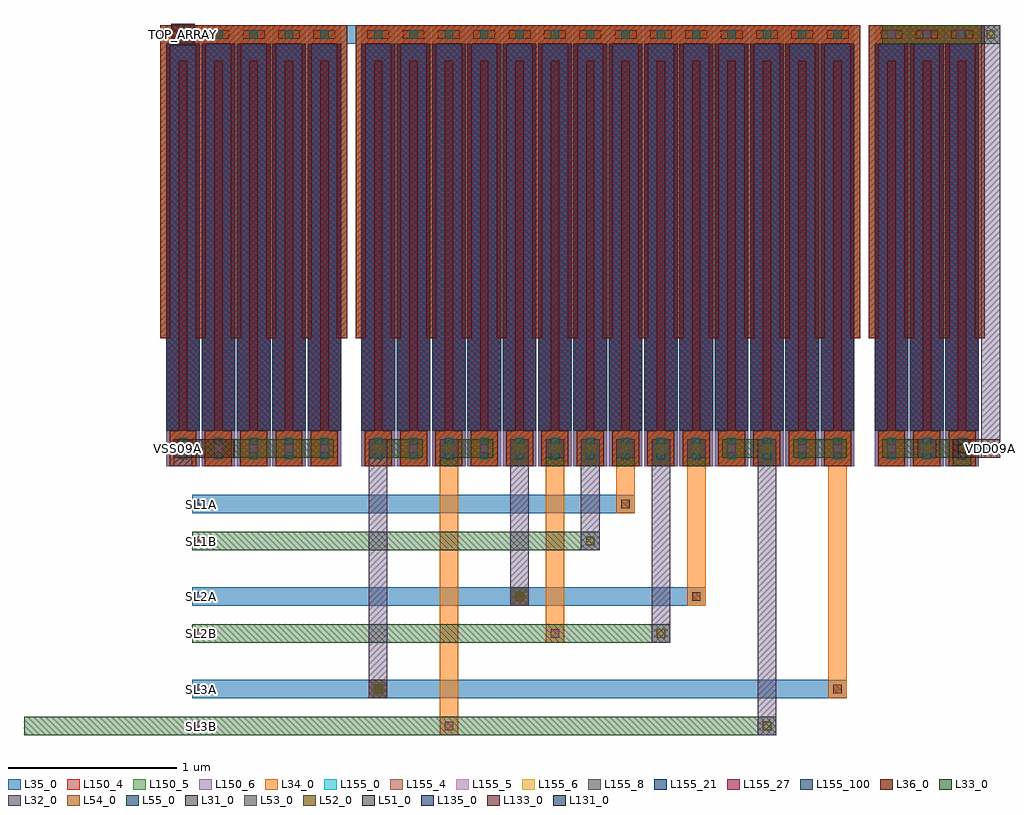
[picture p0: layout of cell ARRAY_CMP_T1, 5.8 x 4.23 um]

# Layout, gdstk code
from math import pi, radians
import gdstk
lib = gdstk.Library(unit=1e-6, precision=1e-09)
def R(c, l, rs):  # rectangles x0, y0, x1, y1
    for r in rs: c.add(gdstk.rectangle(r[:2], r[2:], *l))
def A(c, l, x, y, w, h, nx, ny, dx, dy):  # array of equal rectangles
    R(c, l, [(x+i*dx, y+j*dy, x+i*dx+w, y+j*dy+h) for i in range(nx) for j in range(ny)])
L31_0 = (31, 0)
L32_0 = (32, 0)
L33_0 = (33, 0)
L34_0 = (34, 0)
L35_0 = (35, 0)
L36_0 = (36, 0)
L51_0 = (51, 0)
L52_0 = (52, 0)
L53_0 = (53, 0)
L54_0 = (54, 0)
L55_0 = (55, 0)
L131_0 = (131, 0)
L133_0 = (133, 0)
L135_0 = (135, 0)
L150_4 = (150, 4)
L150_5 = (150, 5)
L150_6 = (150, 6)
L155_0 = (155, 0)
L155_4 = (155, 4)
L155_5 = (155, 5)
L155_6 = (155, 6)
L155_8 = (155, 8)
L155_21 = (155, 21)
L155_27 = (155, 27)
L155_100 = (155, 100)

m5_m4_cdns_621516061597 = lib.new_cell('M5_M4_CDNS_621516061597')
R(m5_m4_cdns_621516061597, L34_0, [(-0.07,-0.105,0.07,0.105)])
R(m5_m4_cdns_621516061597, L35_0, [(-0.07,-0.105,0.07,0.105)])
R(m5_m4_cdns_621516061597, L54_0, [(-0.025,-0.065,0.025,0.065)])

m6_m5_cdns_621516061598 = lib.new_cell('M6_M5_CDNS_621516061598')
R(m6_m5_cdns_621516061598, L35_0, [(-0.07,-0.105,0.07,0.105)])
R(m6_m5_cdns_621516061598, L36_0, [(-0.055,-0.105,0.055,0.105)])
R(m6_m5_cdns_621516061598, L55_0, [(-0.025,-0.065,0.025,0.065)])

m5_m4_cdns_621516061599 = lib.new_cell('M5_M4_CDNS_621516061599')
R(m5_m4_cdns_621516061599, L34_0, [(-0.095,-0.055,0.095,0.055)])
R(m5_m4_cdns_621516061599, L35_0, [(-0.12,-0.055,0.12,0.055)])
R(m5_m4_cdns_621516061599, L54_0, [(-0.065,-0.025,0.065,0.025)])

m6_m5_cdns_6215160615910 = lib.new_cell('M6_M5_CDNS_6215160615910')
R(m6_m5_cdns_6215160615910, L35_0, [(-0.055,-0.055,0.055,0.055)])
R(m6_m5_cdns_6215160615910, L36_0, [(-0.055,-0.055,0.055,0.055)])
R(m6_m5_cdns_6215160615910, L55_0, [(-0.025,-0.025,0.025,0.025)])

cu1f = lib.new_cell('CU1F')
R(cu1f, L34_0, [(0.02,0,0.18,0.21), (-0.035,2.51,0.235,2.62)])
R(cu1f, L35_0, [(0.02,0,0.18,0.21), (-0.035,2.51,0.235,2.62)])
R(cu1f, L36_0, [(0.02,0,0.18,0.21), (-0.035,2.51,0.235,2.62)])
R(cu1f, L150_4, [(0,0,0.2,2.62)])
R(cu1f, L150_5, [(0,0,0.2,2.62)])
R(cu1f, L150_6, [(0,0,0.2,2.62)])
R(cu1f, L155_0, [(0,0.21,0.2,2.51)])
R(cu1f, L155_4, [(0,0.21,0.2,2.51)])
R(cu1f, L155_5, [(0,0.21,0.2,2.51)])
R(cu1f, L155_6, [(0,0.21,0.2,2.51)])
R(cu1f, L155_8, [(0,0.21,0.2,2.51)])
R(cu1f, L155_21, [(0,0.21,0.2,2.51)])
R(cu1f, L155_27, [(0,0.21,0.2,2.51)])
R(cu1f, L155_100, [(0,0.21,0.2,2.51)])
cu1f.add(gdstk.FlexPath([(0.205,2.59),(0.205,0.76)], 0.06, ends=(0.03, 0), simple_path=True, layer=34, datatype=0))  # L34_0
cu1f.add(gdstk.FlexPath([(0.1,2.41),(0.1,0)], 0.05, ends="flush", simple_path=True, layer=34, datatype=0))  # L34_0
cu1f.add(gdstk.FlexPath([(-0.005,2.59),(-0.005,0.76)], 0.06, ends=(0.03, 0), simple_path=True, layer=34, datatype=0))  # L34_0
cu1f.add(gdstk.FlexPath([(0.205,0.76),(0.205,2.59)], 0.06, ends=(0, 0.03), simple_path=True, layer=35, datatype=0))  # L35_0
cu1f.add(gdstk.FlexPath([(0.1,2.41),(0.1,0)], 0.05, ends="flush", simple_path=True, layer=35, datatype=0))  # L35_0
cu1f.add(gdstk.FlexPath([(-0.005,0.76),(-0.005,2.59)], 0.06, ends=(0, 0.03), simple_path=True, layer=35, datatype=0))  # L35_0
cu1f.add(gdstk.FlexPath([(0.205,0.76),(0.205,2.59)], 0.06, ends=(0, 0.03), simple_path=True, layer=36, datatype=0))  # L36_0
cu1f.add(gdstk.FlexPath([(0.1,2.41),(0.1,0)], 0.05, ends="flush", simple_path=True, layer=36, datatype=0))  # L36_0
cu1f.add(gdstk.FlexPath([(-0.005,0.76),(-0.005,2.59)], 0.06, ends=(0, 0.03), simple_path=True, layer=36, datatype=0))  # L36_0
cu1f.add(gdstk.Reference(m5_m4_cdns_621516061597, (0.1,0.105), rotation=pi, x_reflection=True))
cu1f.add(gdstk.Reference(m6_m5_cdns_621516061598, (0.1,0.105), rotation=pi, x_reflection=True))
cu1f.add(gdstk.Reference(m5_m4_cdns_621516061599, (0.1,2.565)))
cu1f.add(gdstk.Reference(m6_m5_cdns_6215160615910, (0.1,2.565)))

m2_m1_cdns_621516061590 = lib.new_cell('M2_M1_CDNS_621516061590')
R(m2_m1_cdns_621516061590, L31_0, [(-0.055,-0.055,0.055,0.055)])
R(m2_m1_cdns_621516061590, L32_0, [(-0.055,-0.055,0.055,0.055)])
R(m2_m1_cdns_621516061590, L51_0, [(-0.025,-0.025,0.025,0.025)])

m3_m2_cdns_621516061591 = lib.new_cell('M3_M2_CDNS_621516061591')
R(m3_m2_cdns_621516061591, L32_0, [(-0.055,-0.055,0.055,0.055)])
R(m3_m2_cdns_621516061591, L33_0, [(-0.055,-0.055,0.055,0.055)])
R(m3_m2_cdns_621516061591, L52_0, [(-0.025,-0.025,0.025,0.025)])

m4_m3_cdns_621516061592 = lib.new_cell('M4_M3_CDNS_621516061592')
R(m4_m3_cdns_621516061592, L33_0, [(-0.055,-0.055,0.055,0.055)])
R(m4_m3_cdns_621516061592, L34_0, [(-0.055,-0.055,0.055,0.055)])
R(m4_m3_cdns_621516061592, L53_0, [(-0.025,-0.025,0.025,0.025)])

m4_m3_cdns_621516061593 = lib.new_cell('M4_M3_CDNS_621516061593')
R(m4_m3_cdns_621516061593, L33_0, [(-0.07,-0.065,0.07,0.065)])
R(m4_m3_cdns_621516061593, L34_0, [(-0.055,-0.055,0.055,0.055)])
R(m4_m3_cdns_621516061593, L53_0, [(-0.025,-0.025,0.025,0.025)])

m3_m2_cdns_621516061594 = lib.new_cell('M3_M2_CDNS_621516061594')
R(m3_m2_cdns_621516061594, L32_0, [(-0.065,-0.06,0.065,0.06)])
R(m3_m2_cdns_621516061594, L33_0, [(-0.07,-0.065,0.07,0.065)])
R(m3_m2_cdns_621516061594, L52_0, [(-0.025,-0.025,0.025,0.025)])

m2_m1_cdns_621516061595 = lib.new_cell('M2_M1_CDNS_621516061595')
R(m2_m1_cdns_621516061595, L31_0, [(-0.055,-0.055,0.055,0.055)])
R(m2_m1_cdns_621516061595, L32_0, [(-0.065,-0.06,0.065,0.06)])
R(m2_m1_cdns_621516061595, L51_0, [(-0.025,-0.025,0.025,0.025)])

m5_m4_cdns_621516061596 = lib.new_cell('M5_M4_CDNS_621516061596')
R(m5_m4_cdns_621516061596, L34_0, [(-0.055,-0.055,0.055,0.055)])
R(m5_m4_cdns_621516061596, L35_0, [(-0.055,-0.055,0.055,0.055)])
R(m5_m4_cdns_621516061596, L54_0, [(-0.025,-0.025,0.025,0.025)])

array_cmp_t1 = lib.new_cell('ARRAY_CMP_T1')
R(array_cmp_t1, L31_0, [(-0.165,0.05,0.195,0.16), (4.465,0.05,4.745,0.16), (-0.18,2.5,-0.04,2.63)])
R(array_cmp_t1, L32_0, [(3.305,-1.6,3.415,0.16), (0.995,-1.38,1.105,0.16), (2.675,-1.05,2.785,0.16), (1.835,-0.83,1.945,0.16), (2.255,-0.5,2.365,0.16), (-0.165,0,-0.055,0.16), (4.465,0.05,4.575,0.16), (4.635,0.05,4.745,2.62)])
A(array_cmp_t1, L33_0, 1.835, 0, 0.11, 0.16, 6, 1, 0.21, 0)
R(array_cmp_t1, L33_0, [(-1.055,-1.6,3.415,-1.49), (-0.055,-1.05,2.785,-0.94), (-0.055,-0.5,2.365,-0.39), (1.415,0,1.525,0.16), (3.305,0,3.415,0.16), (4.465,0,4.575,0.16), (-0.165,0.05,0.785,0.16), (0.995,0.05,1.315,0.16), (1.415,0.05,1.735,0.16), (3.095,0.05,3.415,0.16), (3.515,0.05,3.835,0.16), (4.045,0.05,4.575,0.16), (4.045,2.51,4.745,2.62)])
R(array_cmp_t1, L34_0, [(1.415,-1.6,1.525,0.16), (3.725,-1.38,3.835,0.16), (2.045,-1.05,2.155,0.16), (2.885,-0.83,2.995,0.16), (2.465,-0.28,2.575,0.16)])
R(array_cmp_t1, L35_0, [(-0.055,-1.38,3.835,-1.27), (-0.055,-0.83,2.995,-0.72), (-0.055,-0.28,2.575,-0.17), (-0.18,2.51,1.125,2.62)])
R(array_cmp_t1, L131_0, [(-0.165,0.08,-0.115,0.13), (4.665,0.08,4.715,0.13), (-0.135,2.54,-0.085,2.59)])
A(array_cmp_t1, L133_0, -0.025, -1.57, 0.05, 0.05, 1, 3, 0, 0.55)
A(array_cmp_t1, L135_0, -0.025, -1.35, 0.05, 0.05, 1, 3, 0, 0.55)
array_cmp_t1.add(gdstk.Reference(cu1f, (4,0)))
array_cmp_t1.add(gdstk.Reference(cu1f, (4.21,0)))
array_cmp_t1.add(gdstk.Reference(cu1f, (0.42,0)))
array_cmp_t1.add(gdstk.Reference(cu1f, (0.63,0)))
array_cmp_t1.add(gdstk.Reference(cu1f, (4.42,0)))
array_cmp_t1.add(gdstk.Reference(cu1f, (0.21,0)))
array_cmp_t1.add(gdstk.Reference(cu1f, (0,0)))
array_cmp_t1.add(gdstk.Reference(cu1f, (-0.21,0)))
array_cmp_t1.add(gdstk.Reference(cu1f, (3.68,0)))
array_cmp_t1.add(gdstk.Reference(cu1f, (3.47,0)))
array_cmp_t1.add(gdstk.Reference(cu1f, (3.26,0)))
array_cmp_t1.add(gdstk.Reference(cu1f, (3.05,0)))
array_cmp_t1.add(gdstk.Reference(cu1f, (2.84,0)))
array_cmp_t1.add(gdstk.Reference(cu1f, (2.63,0)))
array_cmp_t1.add(gdstk.Reference(cu1f, (2.42,0)))
array_cmp_t1.add(gdstk.Reference(cu1f, (2.21,0)))
array_cmp_t1.add(gdstk.Reference(cu1f, (2,0)))
array_cmp_t1.add(gdstk.Reference(cu1f, (1.79,0)))
array_cmp_t1.add(gdstk.Reference(cu1f, (1.58,0)))
array_cmp_t1.add(gdstk.Reference(cu1f, (1.37,0)))
array_cmp_t1.add(gdstk.Reference(cu1f, (1.16,0)))
array_cmp_t1.add(gdstk.Reference(cu1f, (0.95,0)))
array_cmp_t1.add(gdstk.Reference(m2_m1_cdns_621516061590, (4.69,0.105)))
array_cmp_t1.add(gdstk.Reference(m2_m1_cdns_621516061590, (-0.11,0.105)))
array_cmp_t1.add(gdstk.Reference(m2_m1_cdns_621516061590, (4.52,0.105)))
array_cmp_t1.add(gdstk.Reference(m3_m2_cdns_621516061591, (1.89,-0.775)))
array_cmp_t1.add(gdstk.Reference(m3_m2_cdns_621516061591, (1.05,-1.325)))
array_cmp_t1.add(gdstk.Reference(m3_m2_cdns_621516061591, (4.69,2.565)))
array_cmp_t1.add(gdstk.Reference(m3_m2_cdns_621516061591, (1.05,0.105)))
array_cmp_t1.add(gdstk.Reference(m3_m2_cdns_621516061591, (1.47,0.105)))
array_cmp_t1.add(gdstk.Reference(m3_m2_cdns_621516061591, (1.89,0.105)))
array_cmp_t1.add(gdstk.Reference(m3_m2_cdns_621516061591, (2.1,0.105)))
array_cmp_t1.add(gdstk.Reference(m3_m2_cdns_621516061591, (2.31,0.105)))
array_cmp_t1.add(gdstk.Reference(m3_m2_cdns_621516061591, (2.52,0.105)))
array_cmp_t1.add(gdstk.Reference(m3_m2_cdns_621516061591, (2.73,0.105)))
array_cmp_t1.add(gdstk.Reference(m3_m2_cdns_621516061591, (2.94,0.105)))
array_cmp_t1.add(gdstk.Reference(m3_m2_cdns_621516061591, (3.36,0.105)))
array_cmp_t1.add(gdstk.Reference(m3_m2_cdns_621516061591, (4.52,0.105)))
array_cmp_t1.add(gdstk.Reference(m3_m2_cdns_621516061591, (-0.11,0.105)))
array_cmp_t1.add(gdstk.Reference(m3_m2_cdns_621516061591, (4.31,0.105)))
array_cmp_t1.add(gdstk.Reference(m3_m2_cdns_621516061591, (2.73,-0.995)))
array_cmp_t1.add(gdstk.Reference(m3_m2_cdns_621516061591, (3.36,-1.545)))
array_cmp_t1.add(gdstk.Reference(m3_m2_cdns_621516061591, (2.31,-0.445)))
array_cmp_t1.add(gdstk.Reference(m4_m3_cdns_621516061592, (1.68,0.105)))
array_cmp_t1.add(gdstk.Reference(m4_m3_cdns_621516061592, (1.05,-1.325)))
array_cmp_t1.add(gdstk.Reference(m4_m3_cdns_621516061592, (4.51,2.565), rotation=pi, x_reflection=True))
array_cmp_t1.add(gdstk.Reference(m4_m3_cdns_621516061592, (4.1,2.565), rotation=pi, x_reflection=True))
array_cmp_t1.add(gdstk.Reference(m4_m3_cdns_621516061592, (1.05,0.105)))
array_cmp_t1.add(gdstk.Reference(m4_m3_cdns_621516061592, (1.26,0.105)))
array_cmp_t1.add(gdstk.Reference(m4_m3_cdns_621516061592, (1.47,0.105)))
array_cmp_t1.add(gdstk.Reference(m4_m3_cdns_621516061592, (1.89,0.105)))
array_cmp_t1.add(gdstk.Reference(m4_m3_cdns_621516061592, (2.1,0.105)))
array_cmp_t1.add(gdstk.Reference(m4_m3_cdns_621516061592, (2.31,0.105)))
array_cmp_t1.add(gdstk.Reference(m4_m3_cdns_621516061592, (2.52,0.105)))
array_cmp_t1.add(gdstk.Reference(m4_m3_cdns_621516061592, (2.73,0.105)))
array_cmp_t1.add(gdstk.Reference(m4_m3_cdns_621516061592, (2.94,0.105)))
array_cmp_t1.add(gdstk.Reference(m4_m3_cdns_621516061592, (3.15,0.105)))
array_cmp_t1.add(gdstk.Reference(m4_m3_cdns_621516061592, (3.36,0.105)))
array_cmp_t1.add(gdstk.Reference(m4_m3_cdns_621516061592, (3.57,0.105)))
array_cmp_t1.add(gdstk.Reference(m4_m3_cdns_621516061592, (3.78,0.105)))
array_cmp_t1.add(gdstk.Reference(m4_m3_cdns_621516061592, (4.52,0.105)))
array_cmp_t1.add(gdstk.Reference(m4_m3_cdns_621516061592, (1.47,-1.545)))
array_cmp_t1.add(gdstk.Reference(m4_m3_cdns_621516061592, (0.1,0.105)))
array_cmp_t1.add(gdstk.Reference(m4_m3_cdns_621516061592, (0.31,0.105)))
array_cmp_t1.add(gdstk.Reference(m4_m3_cdns_621516061592, (-0.11,0.105)))
array_cmp_t1.add(gdstk.Reference(m4_m3_cdns_621516061592, (0.73,0.105)))
array_cmp_t1.add(gdstk.Reference(m4_m3_cdns_621516061592, (0.52,0.105)))
array_cmp_t1.add(gdstk.Reference(m4_m3_cdns_621516061592, (4.1,0.105)))
array_cmp_t1.add(gdstk.Reference(m4_m3_cdns_621516061592, (4.31,0.105)))
array_cmp_t1.add(gdstk.Reference(m4_m3_cdns_621516061592, (4.31,2.565), rotation=pi, x_reflection=True))
array_cmp_t1.add(gdstk.Reference(m4_m3_cdns_621516061592, (1.89,-0.775)))
array_cmp_t1.add(gdstk.Reference(m4_m3_cdns_621516061592, (2.1,-0.995)))
array_cmp_t1.add(gdstk.Reference(m4_m3_cdns_621516061593, (-0.11,2.565)))
array_cmp_t1.add(gdstk.Reference(m3_m2_cdns_621516061594, (-0.11,2.565)))
array_cmp_t1.add(gdstk.Reference(m2_m1_cdns_621516061595, (-0.11,2.565)))
array_cmp_t1.add(gdstk.Reference(m5_m4_cdns_621516061596, (1.89,-0.775)))
array_cmp_t1.add(gdstk.Reference(m5_m4_cdns_621516061596, (2.94,-0.775)))
array_cmp_t1.add(gdstk.Reference(m5_m4_cdns_621516061596, (2.52,-0.225)))
array_cmp_t1.add(gdstk.Reference(m5_m4_cdns_621516061596, (3.78,-1.325)))
array_cmp_t1.add(gdstk.Reference(m5_m4_cdns_621516061596, (1.05,-1.325)))
array_cmp_t1.add(gdstk.Label('SL3A', (0,-1.325), layer=135, texttype=0))
array_cmp_t1.add(gdstk.Label('SL2A', (0,-0.775), layer=135, texttype=0))
array_cmp_t1.add(gdstk.Label('SL1A', (0,-0.225), layer=135, texttype=0))
array_cmp_t1.add(gdstk.Label('SL1B', (0,-0.445), layer=133, texttype=0))
array_cmp_t1.add(gdstk.Label('SL2B', (0,-0.995), layer=133, texttype=0))
array_cmp_t1.add(gdstk.Label('SL3B', (0,-1.545), layer=133, texttype=0))
array_cmp_t1.add(gdstk.Label('VDD09A', (4.69,0.105), layer=131, texttype=0))
array_cmp_t1.add(gdstk.Label('VSS09A', (-0.14,0.105), layer=131, texttype=0))
array_cmp_t1.add(gdstk.Label('TOP_ARRAY', (-0.112,2.565), layer=131, texttype=0))

lib.write_gds('ARRAY_CMP_T1.gds')
